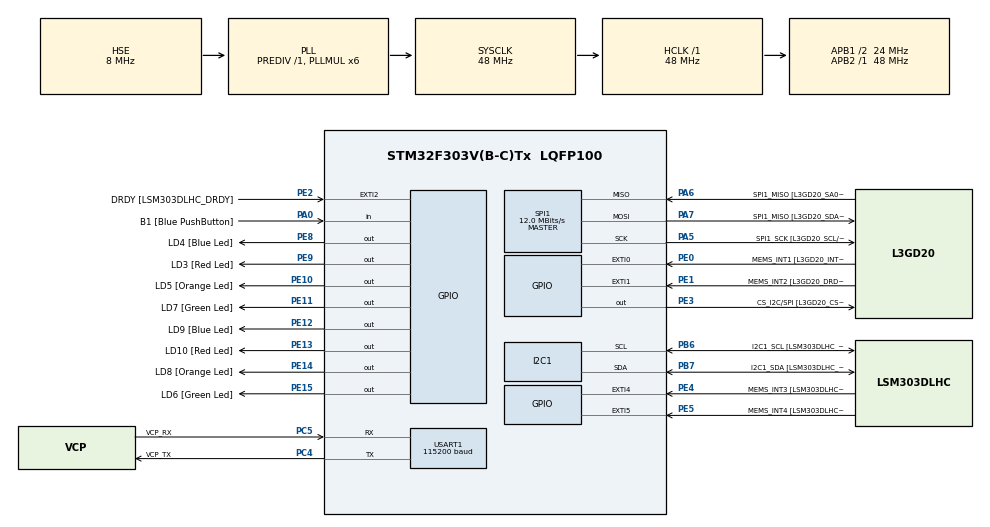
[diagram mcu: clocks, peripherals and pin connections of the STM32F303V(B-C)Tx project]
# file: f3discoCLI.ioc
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I2C1.Timing-I2C=0x2000090E
Mcu.Family=STM32F3
Mcu.Name=STM32F303V(B-C)Tx
Mcu.Package=LQFP100
NVIC.PriorityGroup=NVIC_PRIORITYGROUP_0
NVIC.USART1_IRQn=true\:0\:0\:false\:false\:true\:true\:true\:true
PA0.GPIO_Label=B1 [Blue PushButton]
PA0.Signal=GPIO_Input
PA11.GPIO_Label=DM
PA11.Signal=USB_DM
PA12.GPIO_Label=DP
PA12.Signal=USB_DP
PA13.GPIO_Label=SWDIO
PA13.Mode=Serial_Wire
PA13.Signal=SYS_JTMS-SWDIO
PA14.GPIO_Label=SWCLK
PA14.Mode=Serial_Wire
PA14.Signal=SYS_JTCK-SWCLK
PA5.GPIO_Label=SPI1_SCK [L3GD20_SCL/SPC]
PA5.Mode=Full_Duplex_Master
PA5.Signal=SPI1_SCK
PA6.GPIO_Label=SPI1_MISO [L3GD20_SA0/SDO]
PA6.Mode=Full_Duplex_Master
PA6.Signal=SPI1_MISO
PA7.GPIO_Label=SPI1_MISO [L3GD20_SDA/SDI/SDO]
PA7.Mode=Full_Duplex_Master
PA7.Signal=SPI1_MOSI
PB3.GPIO_Label=SWO
PB3.Signal=SYS_JTDO-TRACESWO
PB6.GPIO_Label=I2C1_SCL [LSM303DLHC_SCL]
PB6.GPIO_Pu=GPIO_PULLUP
PB6.Mode=I2C
PB6.Signal=I2C1_SCL
PB7.GPIO_Label=I2C1_SDA [LSM303DLHC_SDA]
PB7.GPIO_Pu=GPIO_PULLUP
PB7.Mode=I2C
PB7.Signal=I2C1_SDA
PC14-OSC32_IN.GPIO_Label=OSC32_IN
PC14-OSC32_IN.Signal=RCC_OSC32_IN
PC15-OSC32_OUT.GPIO_Label=OSC32_OUT
PC15-OSC32_OUT.Signal=RCC_OSC32_OUT
PC4.GPIO_Label=VCP_TX
PC4.Mode=Asynchronous
PC4.Signal=USART1_TX
PC5.GPIO_Label=VCP_RX
PC5.Mode=Asynchronous
PC5.Signal=USART1_RX
PE0.GPIO_Label=MEMS_INT1 [L3GD20_INT1]
PE0.GPIO_ModeDefaultEXTI=GPIO_MODE_EVT_RISING
PE0.Signal=GPXTI0
PE1.GPIO_Label=MEMS_INT2 [L3GD20_DRDY/INT2]
PE1.GPIO_ModeDefaultEXTI=GPIO_MODE_EVT_RISING
PE1.Signal=GPXTI1
PE10.GPIO_Label=LD5 [Orange Led]
PE10.Signal=GPIO_Output
PE11.GPIO_Label=LD7 [Green Led]
PE11.Signal=GPIO_Output
PE12.GPIO_Label=LD9 [Blue Led]
PE12.Signal=GPIO_Output
PE13.GPIO_Label=LD10 [Red Led]
PE13.Signal=GPIO_Output
PE14.GPIO_Label=LD8 [Orange Led]
PE14.Signal=GPIO_Output
PE15.GPIO_Label=LD6 [Green Led]
PE15.Signal=GPIO_Output
PE2.GPIO_Label=DRDY [LSM303DLHC_DRDY]
PE2.GPIO_ModeDefaultEXTI=GPIO_MODE_EVT_RISING
PE2.Signal=GPXTI2
PE3.GPIO_Label=CS_I2C/SPI [L3GD20_CS_I2C/SPI]
PE3.Signal=GPIO_Output
PE4.GPIO_Label=MEMS_INT3 [LSM303DLHC_INT1]
PE4.GPIO_ModeDefaultEXTI=GPIO_MODE_EVT_RISING
PE4.Signal=GPXTI4
PE5.GPIO_Label=MEMS_INT4 [LSM303DLHC_INT2]
PE5.GPIO_ModeDefaultEXTI=GPIO_MODE_EVT_RISING
PE5.Signal=GPXTI5
PE8.GPIO_Label=LD4 [Blue Led]
PE8.Signal=GPIO_Output
PE9.GPIO_Label=LD3 [Red Led]
PE9.Signal=GPIO_Output
PF0-OSC_IN.GPIO_Label=OSC_IN
PF0-OSC_IN.Mode=HSE-External-Clock-Source
PF0-OSC_IN.Signal=RCC_OSC_IN
PF1-OSC_OUT.GPIO_Label=OSC_OUT
PF1-OSC_OUT.Signal=RCC_OSC_OUT
ProjectManager.HeapSize=0x200
ProjectManager.StackSize=0x400
ProjectManager.TargetToolchain=STM32CubeIDE
RCC.AHBFreq_Value=48000000
RCC.APB1CLKDivider=RCC_HCLK_DIV2
RCC.APB1Freq_Value=24000000
RCC.APB1TimFreq_Value=48000000
RCC.APB2Freq_Value=48000000
RCC.APB2TimFreq_Value=48000000
RCC.CortexFreq_Value=48000000
RCC.HCLKFreq_Value=48000000
RCC.HSE_VALUE=8000000
RCC.HSI_VALUE=8000000
RCC.LSE_VALUE=32768
RCC.PLLMUL=RCC_PLL_MUL6
RCC.PLLSourceVirtual=RCC_PLLSOURCE_HSE
RCC.SYSCLKFreq_VALUE=48000000
RCC.SYSCLKSourceVirtual=RCC_SYSCLKSOURCE_PLLCLK
RCC.USBFreq_Value=48000000
SPI1.BaudRatePrescaler=SPI_BAUDRATEPRESCALER_4
SPI1.BaudRatePrescaler-Full_Duplex_Master=SPI_BAUDRATEPRESCALER_2
SPI1.CalculateBaudRate=12.0 MBits/s
SPI1.CalculateBaudRate-Full_Duplex_Master=24.0 MBits/s
SPI1.Direction=SPI_DIRECTION_2LINES
SPI1.Mode=SPI_MODE_MASTER
SPI1.Mode-Full_Duplex_Master=SPI_MODE_MASTER
SPI1.VirtualType=VM_MASTER
USART1.BaudRate=115200
USART1.VirtualMode-Asynchronous=VM_ASYNC
board=STM32F3DISCOVERY

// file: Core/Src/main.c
/* USER CODE BEGIN Header */
/**
  ******************************************************************************
  * @file           : main.c
  * @brief          : Main program body
  ******************************************************************************
  * @attention
  *
  * Copyright (c) 2023 STMicroelectronics.
  * All rights reserved.
  *
  * This software is licensed under terms that can be found in the LICENSE file
  * in the root directory of this software component.
  * If no LICENSE file comes with this software, it is provided AS-IS.
  *
  ******************************************************************************
  */
/* USER CODE END Header */
#include "main.h"
#include "i2c.h"
#include "spi.h"
#include "usart.h"
#include "gpio.h"

/* USER CODE BEGIN Includes */
#include <stdio.h>
#include <string.h>
#include "LedRelated.h"
#include <stdlib.h>  //for malloc
#include "console.h"  //for the cmd line interface
#include "stm32f3_discovery_accelerometer.h"

/* USER CODE END Includes */

void SystemClock_Config(void);
/* USER CODE BEGIN PFP */
void USART1_SendString(const char* str);
int __io_putchar(int ch);
int __io_getchar(int ch);
int my_getchar(void);

void HAL_UART_RxCpltCallback(UART_HandleTypeDef *huart);
/* USER CODE END PFP */

/* USER CODE BEGIN 0 */

// for printing out address of an initialized global variable
  uint32_t globalVarInit= 0x0ba10ba1;

// for printing out address of an uninitialized global variable
   uint32_t globalVar;

/* USER CODE END 0 */

int main(void)
{

  /* MCU Configuration--------------------------------------------------------*/

  /* Reset of all peripherals, Initializes the Flash interface and the Systick. */
  HAL_Init();

  /* USER CODE BEGIN Init */
  //HAL_UART_Register_Callback(&huart1, HAL_UART_RX_, ByteReceivedUart1);
  /* USER CODE END Init */

  /* Configure the system clock */
  SystemClock_Config();

  /* Initialize all configured peripherals */
  MX_GPIO_Init();
  MX_I2C1_Init();
  MX_SPI1_Init();
  MX_USART1_UART_Init();
  /* USER CODE BEGIN 2 */
  //MX_NVIC_Init();
  LedRoseSet();
  HAL_Delay(50);
  LedRoseToggle();

  USART1_SendString("Hello, World!\r\n");
  //printf("Hi Brent\r\n");

  printf("\r\n");
  // the following bunch of hacking is for Homework #8
  // 1. Print out the stack pointer
  // Credit to https://github.com/dslik/red-jellies/tree/main/lesson-8

  printf(" The stack pointer can be accessed from the ARM r13 register \r\n");
  printf(" 1. define a volatile uint32_t to hold the value of the stack pointer \r\n");
  printf(" 2. use an assembly instruction to move MCU register R13 \r\n");
  printf("    in to the variable known as stackPointer \r\n");
  printf(" 3. Now printf can be used to print out the value in stackPointer\r\n");
  printf("    that is: 'stackPointer' contains R13, the Stack Pointer \r\n");

  volatile uint32_t stackPointer;
  __asm__ volatile ("mov %0, r13;" : "=r"(stackPointer));  //now stackPointer will contain R13, i.e. the Cortex M Stack Pointer
  //printf("   Stack pointer, format specifier  X:          0x%08X\r\n", (uint32_t) stackPointer);
  //printf("   Stack pointer, format specifier lux:          0x%08lux\r\n", (uint32_t) stackPointer);
  printf("   Stack pointer:               0x%08lX\r\n", (uint32_t) stackPointer);
  printf("\r\n");

// to inspect the heap pointer, malloc something
  printf("for the Heap pointer, declare a local variable and print its address out \r\n");

  void foo(void){
	  uint32_t bar;
	  printf("   Heap pointer:                0x%08lX\r\n", (uint32_t) &bar);

	  uint32_t *p;
	  // Allocate memory for a single uint32
	  p = malloc(sizeof(uint32_t));
	  // Store a value in the allocated memory
	  *p = 12345;
      // Print the value to the console
	  printf("   Heap from malloc:            0x%08lX\r\n", (uint32_t) &p);

	  // Free the allocated memory
	  free(p);
	  return;
  }

  //call foo so that it's actually used in code and will print :
  foo();
  printf("\r\n");

  printf("   Initialized global:          0x%08lX\r\n", (uint32_t) &globalVarInit);

  printf("   Un-initialized global:       0x%08lX\r\n", (uint32_t) &globalVar);

  // print out address of a static variable and another variable inside a function
  void foo2(void){
  	  static uint32_t staticVar;
  	  uint32_t varInFunc = 1;
  	  printf("   Static local:                0x%08lX\r\n", (uint32_t) &staticVar);
  	  printf("   Var in a Function:           0x%08lX\r\n", (uint32_t) &varInFunc);
  	  return;
    }

  // call the second function:
  foo2();
  printf("\r\n");

  BSP_ACCELERO_Init();

  int16_t accelData[3] = {0};
  BSP_ACCELERO_GetXYZ(accelData);

  /* USER CODE END 2 */

  /* Infinite loop */
  while (1)
  {

    /* USER CODE BEGIN 3 */
	  //Call my_getchar to read characters interactively
	  //int ch;
	  //while ((ch = my_getchar()) != EOF) {
	  //  __io_putchar(ch); // Print the character received

// enable interrupts for USART1
	  //HAL_UART_Receive_IT(&huart1,);
	  ConsoleInit();

	  while(1)
	  {
		  ConsoleProcess();
	  }

  }

  /* USER CODE END 3 */
}

void SystemClock_Config(void)
{
  RCC_OscInitTypeDef RCC_OscInitStruct = {0};
  RCC_ClkInitTypeDef RCC_ClkInitStruct = {0};
  RCC_PeriphCLKInitTypeDef PeriphClkInit = {0};

  /** Initializes the RCC Oscillators according to the specified parameters
  * in the RCC_OscInitTypeDef structure.
  */
  RCC_OscInitStruct.OscillatorType = RCC_OSCILLATORTYPE_HSI|RCC_OSCILLATORTYPE_HSE;
  RCC_OscInitStruct.HSEState = RCC_HSE_BYPASS;
  RCC_OscInitStruct.HSEPredivValue = RCC_HSE_PREDIV_DIV1;
  RCC_OscInitStruct.HSIState = RCC_HSI_ON;
  RCC_OscInitStruct.HSICalibrationValue = RCC_HSICALIBRATION_DEFAULT;
  RCC_OscInitStruct.PLL.PLLState = RCC_PLL_ON;
  RCC_OscInitStruct.PLL.PLLSource = RCC_PLLSOURCE_HSE;
  RCC_OscInitStruct.PLL.PLLMUL = RCC_PLL_MUL6;
  if (HAL_RCC_OscConfig(&RCC_OscInitStruct) != HAL_OK)
  {
    Error_Handler();
  }

  /** Initializes the CPU, AHB and APB buses clocks
  */
  RCC_ClkInitStruct.ClockType = RCC_CLOCKTYPE_HCLK|RCC_CLOCKTYPE_SYSCLK
                              |RCC_CLOCKTYPE_PCLK1|RCC_CLOCKTYPE_PCLK2;
  RCC_ClkInitStruct.SYSCLKSource = RCC_SYSCLKSOURCE_PLLCLK;
  RCC_ClkInitStruct.AHBCLKDivider = RCC_SYSCLK_DIV1;
  RCC_ClkInitStruct.APB1CLKDivider = RCC_HCLK_DIV2;
  RCC_ClkInitStruct.APB2CLKDivider = RCC_HCLK_DIV1;

  if (HAL_RCC_ClockConfig(&RCC_ClkInitStruct, FLASH_LATENCY_1) != HAL_OK)
  {
    Error_Handler();
  }
  PeriphClkInit.PeriphClockSelection = RCC_PERIPHCLK_USART1|RCC_PERIPHCLK_I2C1;
  PeriphClkInit.Usart1ClockSelection = RCC_USART1CLKSOURCE_PCLK2;
  PeriphClkInit.I2c1ClockSelection = RCC_I2C1CLKSOURCE_HSI;
  if (HAL_RCCEx_PeriphCLKConfig(&PeriphClkInit) != HAL_OK)
  {
    Error_Handler();
  }
}

/* USER CODE BEGIN 4 */
void USART1_SendString(const char* str) {
	HAL_UART_Transmit(&huart1, (uint8_t*)str, strlen(str), HAL_MAX_DELAY);
}
/**
  * @brief  Retargets the C library printf function to the USART.
  * @param  None
  * @retval None
  */
/*PUTCHAR_PROTOTYPE
{
   Place your implementation of fputc here
   e.g. write a character to the USART1 and Loop until the end of transmission
  HAL_UART_Transmit(&huart1, (uint8_t *)&ch, 1, 0xFFFF);

  return ch;
}*/

// these two functions are redefines that I added per Daniel
int __io_putchar(int ch){
	if (HAL_UART_Transmit(&huart1, (uint8_t*)&ch, 1, 0xFFFF) != HAL_OK)
		return -1;
	return 1;
}

/*
int __io_getchar(void){
	int c;
	HAL_UART_Receive(&huart1, (uint8_t*)&c, 1, 0xFFFF);
	return c;
}
*/

/*int my_getchar(void) {
	      return __io_getchar();
	  }*/
void customRcvComplete_CB(UART_HandleTypeDef* huart){
	HAL_UART_Transmit(&huart1, (uint8_t*) "hi", 4, 300);
}

/* USER CODE END 4 */

void Error_Handler(void)
{
  __disable_irq();
  while (1)
  {
  }
}
